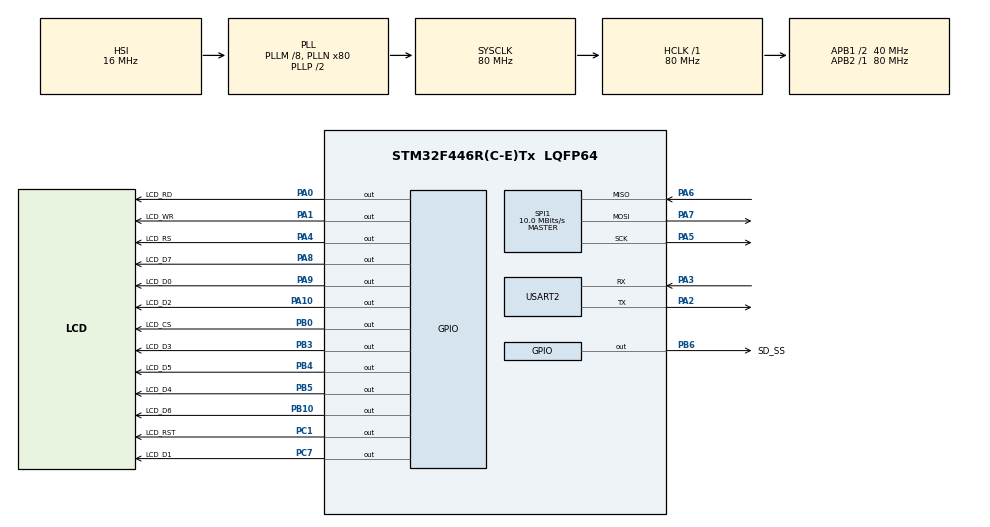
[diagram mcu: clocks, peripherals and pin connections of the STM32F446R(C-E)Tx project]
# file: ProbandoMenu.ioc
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FATFS._MAX_SS=4096
FATFS._USE_LFN=1
Mcu.Family=STM32F4
Mcu.Name=STM32F446R(C-E)Tx
Mcu.Package=LQFP64
NVIC.PriorityGroup=NVIC_PRIORITYGROUP_4
NVIC.USART2_IRQn=true\:0\:0\:false\:false\:true\:true\:true\:true
PA0-WKUP.GPIO_Label=LCD_RD
PA0-WKUP.GPIO_Speed=GPIO_SPEED_FREQ_HIGH
PA0-WKUP.Signal=GPIO_Output
PA1.GPIO_Label=LCD_WR
PA1.GPIO_Speed=GPIO_SPEED_FREQ_HIGH
PA1.Signal=GPIO_Output
PA10.GPIO_Label=LCD_D2
PA10.GPIO_Speed=GPIO_SPEED_FREQ_HIGH
PA10.Signal=GPIO_Output
PA13.Mode=Serial_Wire
PA13.Signal=SYS_JTMS-SWDIO
PA14.Mode=Serial_Wire
PA14.Signal=SYS_JTCK-SWCLK
PA2.Mode=Asynchronous
PA2.Signal=USART2_TX
PA3.Mode=Asynchronous
PA3.Signal=USART2_RX
PA4.GPIO_Label=LCD_RS
PA4.GPIO_Speed=GPIO_SPEED_FREQ_HIGH
PA4.Signal=GPIO_Output
PA5.Mode=Full_Duplex_Master
PA5.Signal=SPI1_SCK
PA6.Mode=Full_Duplex_Master
PA6.Signal=SPI1_MISO
PA7.Mode=Full_Duplex_Master
PA7.Signal=SPI1_MOSI
PA8.GPIO_Label=LCD_D7
PA8.GPIO_Speed=GPIO_SPEED_FREQ_HIGH
PA8.Signal=GPIO_Output
PA9.GPIO_Label=LCD_D0
PA9.GPIO_Speed=GPIO_SPEED_FREQ_HIGH
PA9.Signal=GPIO_Output
PB0.GPIO_Label=LCD_CS
PB0.GPIO_Speed=GPIO_SPEED_FREQ_HIGH
PB0.Signal=GPIO_Output
PB10.GPIO_Label=LCD_D6
PB10.GPIO_Speed=GPIO_SPEED_FREQ_HIGH
PB10.Signal=GPIO_Output
PB3.GPIO_Label=LCD_D3
PB3.GPIO_Speed=GPIO_SPEED_FREQ_HIGH
PB3.Signal=GPIO_Output
PB4.GPIO_Label=LCD_D5
PB4.GPIO_Speed=GPIO_SPEED_FREQ_HIGH
PB4.Signal=GPIO_Output
PB5.GPIO_Label=LCD_D4
PB5.GPIO_Speed=GPIO_SPEED_FREQ_HIGH
PB5.Signal=GPIO_Output
PB6.GPIO_Label=SD_SS
PB6.GPIO_Speed=GPIO_SPEED_FREQ_MEDIUM
PB6.PinState=GPIO_PIN_SET
PB6.Signal=GPIO_Output
PC1.GPIO_Label=LCD_RST
PC1.GPIO_Speed=GPIO_SPEED_FREQ_HIGH
PC1.Signal=GPIO_Output
PC7.GPIO_Label=LCD_D1
PC7.GPIO_Speed=GPIO_SPEED_FREQ_HIGH
PC7.Signal=GPIO_Output
PH0-OSC_IN.Mode=HSE-External-Oscillator
PH0-OSC_IN.Signal=RCC_OSC_IN
PH1-OSC_OUT.Mode=HSE-External-Oscillator
PH1-OSC_OUT.Signal=RCC_OSC_OUT
ProjectManager.HeapSize=0x200
ProjectManager.StackSize=0x400
ProjectManager.TargetToolchain=STM32CubeIDE
RCC.AHBFreq_Value=80000000
RCC.APB1CLKDivider=RCC_HCLK_DIV2
RCC.APB1Freq_Value=40000000
RCC.APB1TimFreq_Value=80000000
RCC.APB2Freq_Value=80000000
RCC.APB2TimFreq_Value=80000000
RCC.CortexFreq_Value=80000000
RCC.HCLKFreq_Value=80000000
RCC.PLLM=8
RCC.PLLN=80
RCC.SYSCLKFreq_VALUE=80000000
RCC.SYSCLKSource=RCC_SYSCLKSOURCE_PLLCLK
RCC.USBFreq_Value=80000000
RCC.VCOOutputFreq_Value=160000000
SPI1.BaudRatePrescaler=SPI_BAUDRATEPRESCALER_8
SPI1.CalculateBaudRate=10.0 MBits/s
SPI1.Direction=SPI_DIRECTION_2LINES
SPI1.Mode=SPI_MODE_MASTER
SPI1.VirtualType=VM_MASTER
USART2.VirtualMode=VM_ASYNC
VP_FATFS_VS_Generic.Mode=User_defined
board=custom

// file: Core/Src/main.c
/* USER CODE BEGIN Header */
/**
 ******************************************************************************
 * @file           : main.c
 * @brief          : Main program body
 ******************************************************************************
 * @attention
 *
 * Copyright (c) 2024 STMicroelectronics.
 * All rights reserved.
 *
 * This software is licensed under terms that can be found in the LICENSE file
 * in the root directory of this software component.
 * If no LICENSE file comes with this software, it is provided AS-IS.
 *
 ******************************************************************************
 */
/* USER CODE END Header */
#include "main.h"
#include "fatfs.h"

/* USER CODE BEGIN Includes */
#include "ili9341.h"
#include "fatfs_sd.h"
#include "string.h"
#include "stdio.h"
/* USER CODE END Includes */

/* USER CODE BEGIN PTD */

//Estructura del jugador
typedef struct{
	unsigned int x;
	unsigned int y;
	unsigned int w;
	unsigned int h;
	unsigned int v;
	unsigned int eliminado;
	unsigned int vel;
	unsigned int vista;
} player;

//Estructura del primer tipo de enemigo
typedef struct {
    unsigned int x;    // Coordenada en X
    unsigned int y;    // Coordenada en Y
    unsigned int v;    // Vida
    unsigned int eliminado; //Enemigo eliminado o no
    unsigned int w;    // Ancho de la hitbox
    unsigned int h;    // Altura de la hitbox
} enemigo_c1;

//
typedef struct {
    unsigned int x;         // Coordenada en X
    unsigned int y;         // Coordenada en Y
    unsigned int w;         // Anchura de la hitbox
    unsigned int h;         // Altura de la hitbox
    unsigned int v;         // Vida actual
    unsigned int vida_inicial; // Vida inicial
    unsigned int vivo;      // 1 si está vivo, 0 si está muerto
    unsigned int direccion; // Dirección de movimiento (0: derecha, 1: abajo, 2: izquierda, 3: arriba)
    unsigned int velocidad; // Velocidad de movimiento
} enemigo_c2;

/* USER CODE END PTD */

/* USER CODE BEGIN PD */
// Definir una región de memoria flash específica para almacenar la imagen
#define MOVIMIENTO_DERECHA  0
#define MOVIMIENTO_ABAJO    1
#define MOVIMIENTO_IZQUIERDA 2
#define MOVIMIENTO_ARRIBA   3

SPI_HandleTypeDef hspi1;
FATFS fs;
FATFS *pfs;
FIL fil;
FRESULT fres;
DWORD fre_clust;
uint32_t totalSpace, freeSpace;
char archivo[100];
UINT bytesRead;
uint8_t respuesta[1];
/* USER CODE END PD */

SPI_HandleTypeDef hspi1;

UART_HandleTypeDef huart2;

/* USER CODE BEGIN PV */
extern uint8_t fondo[];
uint8_t buffer[10];
uint16_t contador=0;
enemigo_c1 e1,e2,e3;
enemigo_c2 e4,e5,e6;
player p1;

char position_p1 [3] = {40,40,8};
uint8_t image[30720];
/* USER CODE END PV */

void SystemClock_Config(void);
static void MX_GPIO_Init(void);
static void MX_SPI1_Init(void);
static void MX_USART2_UART_Init(void);

/* USER CODE BEGIN 0 */

void transmit_uart(char *string){
  uint8_t len=strlen(string);
  HAL_UART_Transmit(&huart2, (uint8_t*)string, len, 200);
}

// Función para leer una imagen desde la SD y almacenarla en la variable play
int load_image_from_sd_to_play(const char* filename) {
    FIL fil;
    UINT bytes_read;
    FRESULT fres;

    fres = f_mount(&fs, "/", 0);
	/*if (fres != FR_OK) {
		transmit_uart("Error al montar la SD\n");
		//free(image_buffer);
		return;
	}*/
    // Abrir el archivo desde la SD
    fres = f_open(&fil, filename, FA_READ);
    if (fres != FR_OK) {
       transmit_uart("Error al abrir el archivo en la SD\n");
        return 0;  // Error al abrir el archivo
    }

    // Leer los datos del archivo y almacenarlos en la variable play
    fres = f_read(&fil, image, 30720, &bytes_read);
    if (fres != FR_OK || bytes_read == 0) {
       transmit_uart("Error al leer la imagen desde la SD\n");
        f_close(&fil);
        return 0;  // Error al leer el archivo
    }

    // Cerrar el archivo
    f_close(&fil);
   // transmit_uart("Imagen cargada correctamente desde la SD a la variable play\n");
    return 1;  // Éxito
}

//Funciones Player
void init_player(player *p, unsigned int x, unsigned int y, unsigned int w, unsigned int h, unsigned int vel, unsigned int color, unsigned int vista) {
    p->x = x;               // Posición inicial en X
    p->y = y;               // Posición inicial en Y
    p->w = w;               // Ancho del jugador
    p->h = h;               // Altura del jugador
    p->v = 0;               // Velocidad vertical inicial (si es necesario)
    p->eliminado = 0;       // El jugador está activo
    p->vel = vel;           // Velocidad del jugador
    p->vista = vista;
    FillRect(p->x, p->y, p->w, p->h, color);  // Dibuja el jugador en la pantalla usando el color especificado
}

void P1_erasePath(void){
	if (position_p1[2]==8){
		FillRect(position_p1[0]-20, position_p1[1], 20, 20, 0xFFFF);
	}
	if (position_p1[2]==2){
		FillRect(position_p1[0]+20, position_p1[1], 20, 20, 0xFFFF);
	}
	if (position_p1[2]==6){
		FillRect(position_p1[0], position_p1[1]-20, 20, 20, 0xFFFF);
	}
	if (position_p1[2]==4){
		FillRect(position_p1[0], position_p1[1]+20, 20, 20, 0xFFFF);
	}
}
//Enemigo tipo 1
	//Iniciar enemigo
	void init_enemigo(enemigo_c1 *enemigo, unsigned int x, unsigned int y, unsigned int vida) {
		enemigo->x = x;
		enemigo->y = y;
		enemigo->v = vida;
		enemigo->eliminado = 0; // Inicialmente no está eliminado
	}
	//Dibujar enemigo
	void dibujar_enemigo(enemigo_c1 *enemigo, unsigned int color) {
	    FillRect(enemigo->x, enemigo->y, 20, 20, color);
	}

	//Validar vida enemigo
	void verificar_vida(enemigo_c1 *enemigo, unsigned int color_fondo) {
	    if (enemigo->v == 0 && enemigo->eliminado == 0) {
	        // Dibuja el cuadrado del color de fondo solo una vez
	        dibujar_enemigo(enemigo, color_fondo);
	        enemigo->eliminado = 1;  // Marca al enemigo como eliminado
	    }
	}
	//Validar si se golpeo un enemigo del tipo 1
	void verificar_golpe(enemigo_c1 *enemigo, int *position_p1) {
	    // Jugador mirando hacia la derecha (p1[2] == 8)
	    if (position_p1[2] == 8) {
	        if (position_p1[0] + 20 >= enemigo->x && position_p1[0] <= enemigo->x + enemigo->w) {
	            if (position_p1[1] >= enemigo->y && position_p1[1] <= enemigo->y + enemigo->h) {
	                enemigo->v -= 1;
	            }
	        }
	    }

	    // Jugador mirando hacia la izquierda (p1[2] == 2)
	    if (position_p1[2] == 2) {
	        if (position_p1[0] - 20 <= enemigo->x + enemigo->w && position_p1[0] >= enemigo->x) {
	            if (position_p1[1] >= enemigo->y && position_p1[1] <= enemigo->y + enemigo->h) {
	                enemigo->v -= 1;
	            }
	        }
	    }

	    // Jugador mirando hacia abajo (p1[2] == 6)
	    if (position_p1[2] == 6) {
	        if (position_p1[1] + 20 >= enemigo->y && position_p1[1] <= enemigo->y + enemigo->h) {
	            if (position_p1[0] >= enemigo->x && position_p1[0] <= enemigo->x + enemigo->w) {
	                enemigo->v -= 1;
	            }
	        }
	    }

	    // Jugador mirando hacia arriba (p1[2] == 4)
	    if (position_p1[2] == 4) {
	        if (position_p1[1] - 20 <= enemigo->y + enemigo->h && position_p1[1] >= enemigo->y) {
	            if (position_p1[0] >= enemigo->x && position_p1[0] <= enemigo->x + enemigo->w) {
	                enemigo->v -= 1;
	            }
	        }
	    }
	}

//Enemigo tipo 2

void init_enemigo2(enemigo_c2 *enemigo, unsigned int x, unsigned int y, unsigned int w, unsigned int h, unsigned int v, unsigned int direccion, unsigned int velocidad) {
	enemigo->x = x;               // Coordenada inicial en X
	enemigo->y = y;               // Coordenada inicial en Y
	enemigo->w = w;               // Ancho de la hitbox
	enemigo->h = h;               // Altura de la hitbox
	enemigo->v = v;               // Vida inicial
	enemigo->direccion = direccion; // Dirección inicial de movimiento
	enemigo->velocidad = velocidad; // Velocidad del movimiento
}

/* USER CODE END 0 */

int main(void)
{

  /* MCU Configuration--------------------------------------------------------*/

  /* Reset of all peripherals, Initializes the Flash interface and the Systick. */
  HAL_Init();

  /* Configure the system clock */
  SystemClock_Config();

  /* Initialize all configured peripherals */
  MX_GPIO_Init();
  MX_SPI1_Init();
  MX_USART2_UART_Init();
  MX_FATFS_Init();
  /* USER CODE BEGIN 2 */

	LCD_Init();
	//Fondo
	if (load_image_from_sd_to_play("fb1_h.bin")) {
		LCD_Bitmap(0, 0, 320, 48, image);

	}
	if (load_image_from_sd_to_play("fb2_h.bin")) {
		LCD_Bitmap(0, 48, 320, 48, image);
	}
	if (load_image_from_sd_to_play("fb3_h.bin")) {
		LCD_Bitmap(0, 96, 320, 48, image);

	}
	if (load_image_from_sd_to_play("fb4_h.bin")) {
		LCD_Bitmap(0, 144, 320, 48, image);
	}
	if (load_image_from_sd_to_play("fb5_h.bin")) {
		LCD_Bitmap(0, 192, 320, 48, image);
	}
	//Fondo
	//FillRect(0, 0, 319, 239, 0xFFFF);
	//Linea de en medio
	//V_line(160, 0, 240, 0x0000);
	//FillRect(50, 60, 20, 20, 0xF800);
	//FillRect(70, 60, 20, 20, 0x07E0);
	//FillRect(90, 60, 20, 20, 0x001F);

	//mostrar_imagen_sd("fondo_menu.txt",0,0,320,240);
	//LCD_Clear(0x00);
	//LCD_Bitmap(0, 0, 320, 240, fondo);
	//FillRect(0, 0, 319, 206, 0x1911);

	//LCD_Print("Hola Mundo", 20, 100, 1, 0x001F, 0xCAB9);
	/*
	  // Activar bandera interrupcion
	  HAL_UART_Receive_IT(&huart2, buffer, 1);

	  //EnemigoC1 1
	  init_enemigo(&e1, 100, 100, 3);
	  dibujar_enemigo(&e1, 0x07E0);

	  //EnemigoC1 2
	  init_enemigo(&e2, 100, 20, 3);
	  dibujar_enemigo(&e2, 0x0E0E);

	  //EnemigoC1 3
	  init_enemigo(&e3, 20, 100, 3);
	  dibujar_enemigo(&e3, 0x0FFF);
	  */
  /* USER CODE END 2 */

  /* Infinite loop */
  /* USER CODE BEGIN WHILE */
	while (1) {

		//Jugador 1
		//FillRect(position_p1[0], position_p1[1], 20, 20, 0xF800);
		//P1_erasePath();

		//Enemigo 1
		//verificar_vida(&e1, 0xFFFF);
		//verificar_vida(&e2, 0xFFFF);
		//verificar_vida(&e3, 0xFFFF);
		//movimiento_e1();

    /* USER CODE END WHILE */

	}
}

void SystemClock_Config(void)
{
  RCC_OscInitTypeDef RCC_OscInitStruct = {0};
  RCC_ClkInitTypeDef RCC_ClkInitStruct = {0};

  /** Configure the main internal regulator output voltage
  */
  __HAL_RCC_PWR_CLK_ENABLE();
  __HAL_PWR_VOLTAGESCALING_CONFIG(PWR_REGULATOR_VOLTAGE_SCALE3);

  /** Initializes the RCC Oscillators according to the specified parameters
  * in the RCC_OscInitTypeDef structure.
  */
  RCC_OscInitStruct.OscillatorType = RCC_OSCILLATORTYPE_HSI;
  RCC_OscInitStruct.HSIState = RCC_HSI_ON;
  RCC_OscInitStruct.HSICalibrationValue = RCC_HSICALIBRATION_DEFAULT;
  RCC_OscInitStruct.PLL.PLLState = RCC_PLL_ON;
  RCC_OscInitStruct.PLL.PLLSource = RCC_PLLSOURCE_HSI;
  RCC_OscInitStruct.PLL.PLLM = 8;
  RCC_OscInitStruct.PLL.PLLN = 80;
  RCC_OscInitStruct.PLL.PLLP = RCC_PLLP_DIV2;
  RCC_OscInitStruct.PLL.PLLQ = 2;
  RCC_OscInitStruct.PLL.PLLR = 2;
  if (HAL_RCC_OscConfig(&RCC_OscInitStruct) != HAL_OK)
  {
    Error_Handler();
  }

  /** Initializes the CPU, AHB and APB buses clocks
  */
  RCC_ClkInitStruct.ClockType = RCC_CLOCKTYPE_HCLK|RCC_CLOCKTYPE_SYSCLK
                              |RCC_CLOCKTYPE_PCLK1|RCC_CLOCKTYPE_PCLK2;
  RCC_ClkInitStruct.SYSCLKSource = RCC_SYSCLKSOURCE_PLLCLK;
  RCC_ClkInitStruct.AHBCLKDivider = RCC_SYSCLK_DIV1;
  RCC_ClkInitStruct.APB1CLKDivider = RCC_HCLK_DIV2;
  RCC_ClkInitStruct.APB2CLKDivider = RCC_HCLK_DIV1;

  if (HAL_RCC_ClockConfig(&RCC_ClkInitStruct, FLASH_LATENCY_2) != HAL_OK)
  {
    Error_Handler();
  }
}

static void MX_SPI1_Init(void)
{

  /* SPI1 parameter configuration*/
  hspi1.Instance = SPI1;
  hspi1.Init.Mode = SPI_MODE_MASTER;
  hspi1.Init.Direction = SPI_DIRECTION_2LINES;
  hspi1.Init.DataSize = SPI_DATASIZE_8BIT;
  hspi1.Init.CLKPolarity = SPI_POLARITY_LOW;
  hspi1.Init.CLKPhase = SPI_PHASE_1EDGE;
  hspi1.Init.NSS = SPI_NSS_SOFT;
  hspi1.Init.BaudRatePrescaler = SPI_BAUDRATEPRESCALER_8;
  hspi1.Init.FirstBit = SPI_FIRSTBIT_MSB;
  hspi1.Init.TIMode = SPI_TIMODE_DISABLE;
  hspi1.Init.CRCCalculation = SPI_CRCCALCULATION_DISABLE;
  hspi1.Init.CRCPolynomial = 10;
  if (HAL_SPI_Init(&hspi1) != HAL_OK)
  {
    Error_Handler();
  }

}

static void MX_USART2_UART_Init(void)
{

  huart2.Instance = USART2;
  huart2.Init.BaudRate = 115200;
  huart2.Init.WordLength = UART_WORDLENGTH_8B;
  huart2.Init.StopBits = UART_STOPBITS_1;
  huart2.Init.Parity = UART_PARITY_NONE;
  huart2.Init.Mode = UART_MODE_TX_RX;
  huart2.Init.HwFlowCtl = UART_HWCONTROL_NONE;
  huart2.Init.OverSampling = UART_OVERSAMPLING_16;
  if (HAL_UART_Init(&huart2) != HAL_OK)
  {
    Error_Handler();
  }

}

static void MX_GPIO_Init(void)
{
  GPIO_InitTypeDef GPIO_InitStruct = {0};

  /* GPIO Ports Clock Enable */
  __HAL_RCC_GPIOH_CLK_ENABLE();
  __HAL_RCC_GPIOC_CLK_ENABLE();
  __HAL_RCC_GPIOA_CLK_ENABLE();
  __HAL_RCC_GPIOB_CLK_ENABLE();

  /*Configure GPIO pin Output Level */
  HAL_GPIO_WritePin(GPIOC, LCD_RST_Pin|LCD_D1_Pin, GPIO_PIN_RESET);

  /*Configure GPIO pin Output Level */
  HAL_GPIO_WritePin(GPIOA, LCD_RD_Pin|LCD_WR_Pin|LCD_RS_Pin|LCD_D7_Pin
                          |LCD_D0_Pin|LCD_D2_Pin, GPIO_PIN_RESET);

  /*Configure GPIO pin Output Level */
  HAL_GPIO_WritePin(GPIOB, LCD_CS_Pin|LCD_D6_Pin|LCD_D3_Pin|LCD_D5_Pin
                          |LCD_D4_Pin, GPIO_PIN_RESET);

  /*Configure GPIO pin Output Level */
  HAL_GPIO_WritePin(SD_SS_GPIO_Port, SD_SS_Pin, GPIO_PIN_SET);

  /*Configure GPIO pins : LCD_RST_Pin LCD_D1_Pin */
  GPIO_InitStruct.Pin = LCD_RST_Pin|LCD_D1_Pin;
  GPIO_InitStruct.Mode = GPIO_MODE_OUTPUT_PP;
  GPIO_InitStruct.Pull = GPIO_NOPULL;
  GPIO_InitStruct.Speed = GPIO_SPEED_FREQ_HIGH;
  HAL_GPIO_Init(GPIOC, &GPIO_InitStruct);

  /*Configure GPIO pins : LCD_RD_Pin LCD_WR_Pin LCD_RS_Pin LCD_D7_Pin
                           LCD_D0_Pin LCD_D2_Pin */
  GPIO_InitStruct.Pin = LCD_RD_Pin|LCD_WR_Pin|LCD_RS_Pin|LCD_D7_Pin
                          |LCD_D0_Pin|LCD_D2_Pin;
  GPIO_InitStruct.Mode = GPIO_MODE_OUTPUT_PP;
  GPIO_InitStruct.Pull = GPIO_NOPULL;
  GPIO_InitStruct.Speed = GPIO_SPEED_FREQ_HIGH;
  HAL_GPIO_Init(GPIOA, &GPIO_InitStruct);

  /*Configure GPIO pins : LCD_CS_Pin LCD_D6_Pin LCD_D3_Pin LCD_D5_Pin
                           LCD_D4_Pin */
  GPIO_InitStruct.Pin = LCD_CS_Pin|LCD_D6_Pin|LCD_D3_Pin|LCD_D5_Pin
                          |LCD_D4_Pin;
  GPIO_InitStruct.Mode = GPIO_MODE_OUTPUT_PP;
  GPIO_InitStruct.Pull = GPIO_NOPULL;
  GPIO_InitStruct.Speed = GPIO_SPEED_FREQ_HIGH;
  HAL_GPIO_Init(GPIOB, &GPIO_InitStruct);

  /*Configure GPIO pin : SD_SS_Pin */
  GPIO_InitStruct.Pin = SD_SS_Pin;
  GPIO_InitStruct.Mode = GPIO_MODE_OUTPUT_PP;
  GPIO_InitStruct.Pull = GPIO_NOPULL;
  GPIO_InitStruct.Speed = GPIO_SPEED_FREQ_MEDIUM;
  HAL_GPIO_Init(SD_SS_GPIO_Port, &GPIO_InitStruct);

}

/* USER CODE BEGIN 4 */

void HAL_UART_RxCpltCallback(UART_HandleTypeDef *huart)
{
	if(buffer[0] == 'u'){
		if (position_p1[0]<140){
		position_p1[0]+=20;
		position_p1[2]=8;}

		if(p1.x<140){
			p1.x=p1.x+p1.vel;
			p1.vista=8;
		}
	}
	if(buffer[0] == 'd'){
		if (position_p1[0]>0){
		position_p1[0]-=20;
		position_p1[2]=2;}

		if (p1.x>0){
			p1.x=p1.x-p1.vel;
			p1.vista=4;
		}
	}
	if(buffer[0] == 'r'){
		if (position_p1[1]<220){
		position_p1[1]+=20;
		position_p1[2]=6;}

		if (p1.y<220){
			p1.y=p1.y+p1.vel;
			p1.vista=6;
		}
	}
	if(buffer[0] == 'l'){
		if(position_p1[1]>0){
		position_p1[1]-=20;
		position_p1[2]=4;}

		if (p1.y>0){
			p1.y=p1.y-p1.vel;
			p1.vista=4;
		}
	}
	if (buffer[0]=='b'){
	    //verificar_golpe(&e1, position_p1);
	    //verificar_golpe(&e2, position_p1);
	    //verificar_golpe(&e3, position_p1);
	}
	// Vuelve a activar la recepción por interrupción
	HAL_UART_Receive_IT(&huart2, buffer, 1);
}

/* USER CODE END 4 */

void Error_Handler(void)
{
	__disable_irq();
	while (1) {
	}
}
